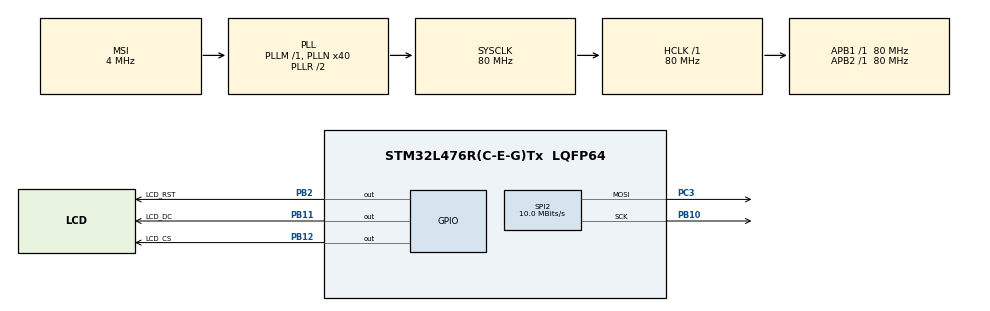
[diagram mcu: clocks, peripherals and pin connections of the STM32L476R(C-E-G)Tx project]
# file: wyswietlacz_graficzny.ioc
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Dma.Request0=SPI2_TX
Dma.SPI2_TX.0.Direction=DMA_MEMORY_TO_PERIPH
Dma.SPI2_TX.0.Instance=DMA1_Channel5
Dma.SPI2_TX.0.MemDataAlignment=DMA_MDATAALIGN_BYTE
Dma.SPI2_TX.0.MemInc=DMA_MINC_ENABLE
Dma.SPI2_TX.0.Mode=DMA_NORMAL
Dma.SPI2_TX.0.PeriphDataAlignment=DMA_PDATAALIGN_BYTE
Dma.SPI2_TX.0.PeriphInc=DMA_PINC_DISABLE
Dma.SPI2_TX.0.Priority=DMA_PRIORITY_LOW
Mcu.Family=STM32L4
Mcu.Name=STM32L476R(C-E-G)Tx
Mcu.Package=LQFP64
NVIC.DMA1_Channel5_IRQn=true\:0\:0\:false\:false\:true\:false\:true\:true
NVIC.PriorityGroup=NVIC_PRIORITYGROUP_4
PA13\ (JTMS-SWDIO).Mode=Serial_Wire
PA13\ (JTMS-SWDIO).Signal=SYS_JTMS-SWDIO
PA14\ (JTCK-SWCLK).Mode=Serial_Wire
PA14\ (JTCK-SWCLK).Signal=SYS_JTCK-SWCLK
PB10.Mode=TX_Only_Simplex_Unidirect_Master
PB10.Signal=SPI2_SCK
PB11.GPIO_Label=LCD_DC
PB11.Signal=GPIO_Output
PB12.GPIO_Label=LCD_CS
PB12.PinState=GPIO_PIN_SET
PB12.Signal=GPIO_Output
PB2.GPIO_Label=LCD_RST
PB2.Signal=GPIO_Output
PC3.Mode=TX_Only_Simplex_Unidirect_Master
PC3.Signal=SPI2_MOSI
ProjectManager.HeapSize=0x200
ProjectManager.StackSize=0x2000
ProjectManager.TargetToolchain=STM32CubeIDE
RCC.AHBFreq_Value=80000000
RCC.APB1Freq_Value=80000000
RCC.APB1TimFreq_Value=80000000
RCC.APB2Freq_Value=80000000
RCC.APB2TimFreq_Value=80000000
RCC.CortexFreq_Value=80000000
RCC.HCLKFreq_Value=80000000
RCC.HSE_VALUE=8000000
RCC.HSI_VALUE=16000000
RCC.LSE_VALUE=32768
RCC.MSI_VALUE=4000000
RCC.PLLN=40
RCC.SYSCLKFreq_VALUE=80000000
RCC.SYSCLKSource=RCC_SYSCLKSOURCE_PLLCLK
RCC.VCOOutputFreq_Value=160000000
SPI2.BaudRatePrescaler=SPI_BAUDRATEPRESCALER_8
SPI2.CalculateBaudRate=10.0 MBits/s
SPI2.DataSize=SPI_DATASIZE_8BIT
SPI2.Direction=SPI_DIRECTION_2LINES
SPI2.Mode=SPI_MODE_MASTER
SPI2.NSSPMode=SPI_NSS_PULSE_DISABLE
SPI2.VirtualType=VM_MASTER
board=custom

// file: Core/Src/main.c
/* USER CODE BEGIN Header */
/**
  ******************************************************************************
  * @file           : main.c
  * @brief          : Main program body
  ******************************************************************************
  * @attention
  *
  * Copyright (c) 2024 STMicroelectronics.
  * All rights reserved.
  *
  * This software is licensed under terms that can be found in the LICENSE file
  * in the root directory of this software component.
  * If no LICENSE file comes with this software, it is provided AS-IS.
  *
  ******************************************************************************
  */
/* USER CODE END Header */
#include "main.h"
#include "dma.h"
#include "spi.h"
#include "gpio.h"

/* USER CODE BEGIN Includes */
#include "hagl.h"
#include "font6x9.h"
#include "rgb565.h"

#include "metaballs.h"
#include "rotozoom.h"
#include "plasma.h"
#include "logo.c"

/* USER CODE END Includes */

void SystemClock_Config(void);

/* USER CODE BEGIN 0 */

//uint16_t test_image[64*64];

/*
void HAL_SPI_TxCpltCallback(SPI_HandleTypeDef *hspi)
{
	if (hspi == &hspi2)
	{
		HAL_GPIO_WritePin(LCD_CS_GPIO_Port, LCD_CS_Pin, GPIO_PIN_SET);
	}
}
*/

void HAL_SPI_TxCpltCallback(SPI_HandleTypeDef *hspi)
{
	if (hspi == &hspi2)
	{
		lcd_transfer_done();
	}
}

/* USER CODE END 0 */

int main(void)
{

  /* MCU Configuration--------------------------------------------------------*/

  /* Reset of all peripherals, Initializes the Flash interface and the Systick. */
  HAL_Init();

  /* Configure the system clock */
  SystemClock_Config();

  /* Initialize all configured peripherals */
  MX_GPIO_Init();
  MX_DMA_Init();
  MX_SPI2_Init();

  /* Infinite loop */
  /* USER CODE BEGIN WHILE */

  //stary kod i nieaktualne funkcje
  /*
  lcd_init();
  lcd_init();
  lcd_fill_box(0, 0, 160, 16, RED);
  lcd_fill_box(0, 16, 160, 16, GREEN);
  lcd_fill_box(0, 32, 160, 16, BLUE);
  lcd_fill_box(0, 48, 160, 16, YELLOW);
  lcd_fill_box(0, 64, 160, 16, MAGENTA);
  lcd_fill_box(0, 80, 160, 16, CYAN);
  lcd_fill_box(0, 96, 160, 16, WHITE);
  lcd_fill_box(0, 112, 160, 16, BLACK);

  for (int i = 0; i < 128; i++) {
    lcd_put_pixel(i,  i, RED);
    lcd_put_pixel(127 - i,  i, RED);
  }
  lcd_draw_image(35, 20, 100, 80, logo);

  for (int i = 0; i < 64 * 64; i++)
	  test_image[i] = __REV16(BLUE);

  lcd_draw_image(0, 0, 64, 64, test_image);
  lcd_draw_image(16, 16, 64, 64, test_image);
  lcd_draw_image(32, 32, 64, 64, test_image);
  lcd_draw_image(48, 48, 64, 64, test_image);
  lcd_draw_image(64, 64, 64, 64, test_image);*/

  //optymalna moja biblioteka
  /*
  lcd_init();

  for (int y = 0; y < LCD_HEIGHT; y++) {
    for (int x = 0; x < LCD_WIDTH; x++) {
      lcd_put_pixel(x, y, __REV16(x / 10 + y * 16));
    }
  }

  lcd_copy();
  */

  //gotowa biblioteka z internetu
  lcd_init();

  for (int i = 0; i < 8; i++) {
    hagl_draw_rounded_rectangle(2+i, 2+i, 158-i, 126-i, 8-i, rgb565(0, 0, i*16));
  }

  hagl_put_text(L"Hello Mordko!", 40, 55, YELLOW, font6x9);

  lcd_copy();

// różne dema z biblioteki
  lcd_init();
  //metaballs_init();
  //rotozoom_init();
  plasma_init();

  while (1)
  {
    //metaballs_animate();
    //rotozoom_animate();
	  plasma_animate();

    while (lcd_is_busy()) {}

    //metaballs_render();
    //rotozoom_render();
    plasma_render();

    lcd_copy();
    /* USER CODE END WHILE */

  }
}

void SystemClock_Config(void)
{
  RCC_OscInitTypeDef RCC_OscInitStruct = {0};
  RCC_ClkInitTypeDef RCC_ClkInitStruct = {0};

  /** Configure the main internal regulator output voltage
  */
  if (HAL_PWREx_ControlVoltageScaling(PWR_REGULATOR_VOLTAGE_SCALE1) != HAL_OK)
  {
    Error_Handler();
  }

  /** Initializes the RCC Oscillators according to the specified parameters
  * in the RCC_OscInitTypeDef structure.
  */
  RCC_OscInitStruct.OscillatorType = RCC_OSCILLATORTYPE_MSI;
  RCC_OscInitStruct.MSIState = RCC_MSI_ON;
  RCC_OscInitStruct.MSICalibrationValue = 0;
  RCC_OscInitStruct.MSIClockRange = RCC_MSIRANGE_6;
  RCC_OscInitStruct.PLL.PLLState = RCC_PLL_ON;
  RCC_OscInitStruct.PLL.PLLSource = RCC_PLLSOURCE_MSI;
  RCC_OscInitStruct.PLL.PLLM = 1;
  RCC_OscInitStruct.PLL.PLLN = 40;
  RCC_OscInitStruct.PLL.PLLP = RCC_PLLP_DIV7;
  RCC_OscInitStruct.PLL.PLLQ = RCC_PLLQ_DIV2;
  RCC_OscInitStruct.PLL.PLLR = RCC_PLLR_DIV2;
  if (HAL_RCC_OscConfig(&RCC_OscInitStruct) != HAL_OK)
  {
    Error_Handler();
  }

  /** Initializes the CPU, AHB and APB buses clocks
  */
  RCC_ClkInitStruct.ClockType = RCC_CLOCKTYPE_HCLK|RCC_CLOCKTYPE_SYSCLK
                              |RCC_CLOCKTYPE_PCLK1|RCC_CLOCKTYPE_PCLK2;
  RCC_ClkInitStruct.SYSCLKSource = RCC_SYSCLKSOURCE_PLLCLK;
  RCC_ClkInitStruct.AHBCLKDivider = RCC_SYSCLK_DIV1;
  RCC_ClkInitStruct.APB1CLKDivider = RCC_HCLK_DIV1;
  RCC_ClkInitStruct.APB2CLKDivider = RCC_HCLK_DIV1;

  if (HAL_RCC_ClockConfig(&RCC_ClkInitStruct, FLASH_LATENCY_4) != HAL_OK)
  {
    Error_Handler();
  }
}

void Error_Handler(void)
{
  __disable_irq();
  while (1)
  {
  }
}
